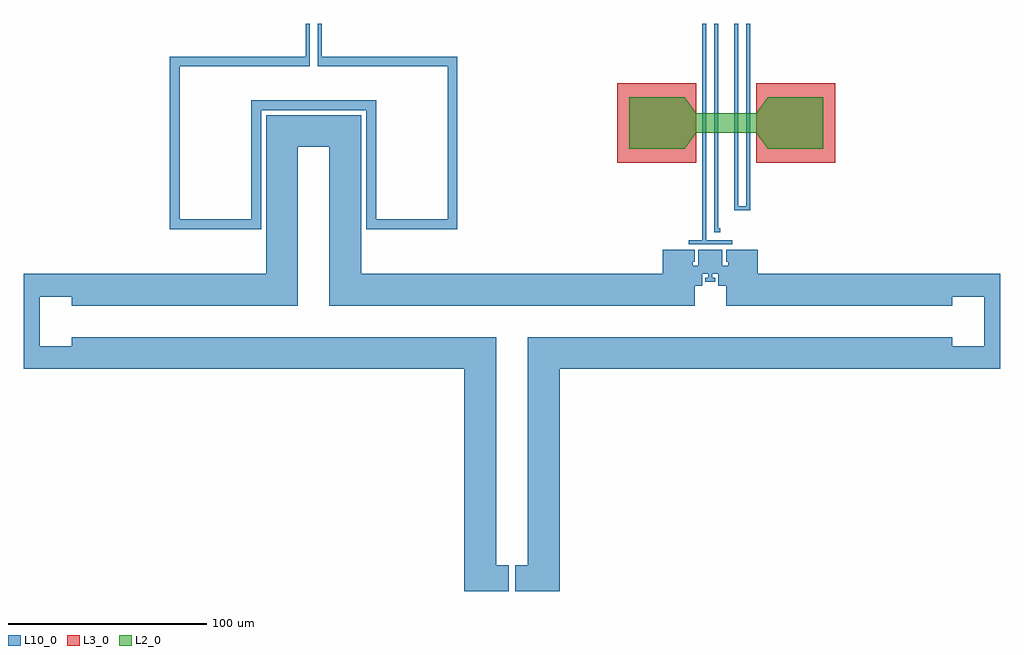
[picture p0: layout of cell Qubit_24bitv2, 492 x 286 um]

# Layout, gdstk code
from math import pi, radians
import gdstk
lib = gdstk.Library(unit=1e-6, precision=1e-09)
def R(c, l, rs):  # rectangles x0, y0, x1, y1
    for r in rs: c.add(gdstk.rectangle(r[:2], r[2:], *l))
def P(c, l, *ps):  # polygons
    for p in ps: c.add(gdstk.Polygon(p, *l))
L2_0 = (2, 0)
L3_0 = (3, 0)
L10_0 = (10, 0)

airbridge1ins = lib.new_cell('airbridge1ins')
R(airbridge1ins, L2_0, [(-49,-13,-21,-5), (21,-13,49,-5), (-49,-5,-30,5), (-30,-5,30,5), (30,-5,49,5), (-49,5,-21,13), (21,5,49,13)])
P(airbridge1ins, L2_0, [(15,-5),(21,-13),(21,-5)],
  [(15,5),(21,13),(21,5)],
  [(-15,-5),(-21,-13),(-21,-5)],
  [(-15,5),(-21,13),(-21,5)])
R(airbridge1ins, L3_0, [(-55,-20,-15,20), (15,-20,55,20)])

qubit_24bitv2 = lib.new_cell('Qubit_24bitv2')
R(qubit_24bitv2, L10_0, [(-24,-136,-8,-128), (-8,-136,-1.6,-123), (1.6,-136,8,-123), (8,-136,24,-128), (-24,-128,-8,-112), (8,-128,24,-112), (-24,-112,-8,-96), (8,-112,24,-96), (-24,-96,-8,-24), (8,-96,24,-24), (-246,-24,-238,24), (-238,-24,-222,-12.5), (-222,-24,-206,-8), (-206,-24,-32,-8), (-32,-24,-8,-8), (8,-24,32,-8), (32,-24,206,-8), (206,-24,222,-8), (222,-24,238,-12.5), (238,-24,246,24), (-222,8,-206,24), (-206,8,-158,24), (-158,8,-108,24), (-92,8,76,24), (124,8,158,24), (158,8,206,24), (206,8,222,24), (-238,12.5,-222,24), (222,12.5,238,24), (-124,24,-108,104), (-92,24,-76,104), (-172.5,46.5,-167.5,133.5), (-167.5,46.5,-131.5,51.5), (-131.5,46.5,-126.5,106.5), (-73.5,46.5,-68.5,106.5), (-68.5,46.5,-32.5,51.5), (-32.5,46.5,-27.5,133.5), (112,56,114,150), (114,56,118,58), (118,56,120,150), (-108,88,-92,104), (-131.5,106.5,-68.5,111.5), (-167.5,128.5,-102,133.5), (-98,128.5,-32.5,133.5), (-104,133.5,-102,150), (-98,133.5,-96,150)])
P(qubit_24bitv2, L10_0, [(124,8),(108,8),(108,18),(104,18),(104,24),(101,24),(101,22),(102.5,22),(102.5,20),(97.5,20),(97.5,22),(99,22),(99,24),(96,24),(96,18),(92,18),(92,8),(76,8),(76,36),(92,36),(92,30),(91,30),(91,28),(94,28),(94,36),(106,36),(106,28),(109,28),(109,30),(108,30),(108,36),(124,36)],
  [(104,47),(105,47),(105,45),(102,45),(102,150),(104,150)],
  [(98,41),(111,41),(111,39),(89,39),(89,41),(96,41),(96,150),(98,150)])
qubit_24bitv2.add(gdstk.Reference(airbridge1ins, (108,100), rotation=pi, x_reflection=True))

lib.write_gds('Qubit_24bitv2.gds')
